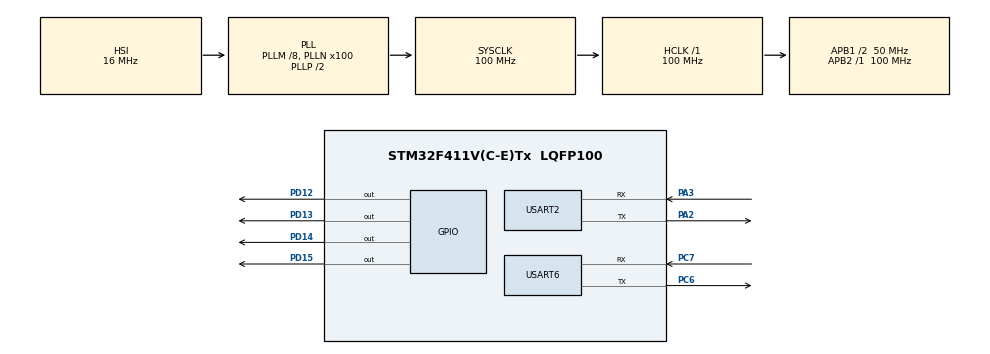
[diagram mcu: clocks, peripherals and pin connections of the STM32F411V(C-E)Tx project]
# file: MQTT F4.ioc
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Mcu.Family=STM32F4
Mcu.Name=STM32F411V(C-E)Tx
Mcu.Package=LQFP100
NVIC.PriorityGroup=NVIC_PRIORITYGROUP_4
NVIC.USART6_IRQn=true\:0\:0\:false\:false\:true\:true\:true
PA13.Mode=Serial_Wire
PA13.Signal=SYS_JTMS-SWDIO
PA14.Mode=Serial_Wire
PA14.Signal=SYS_JTCK-SWCLK
PA2.Mode=Asynchronous
PA2.Signal=USART2_TX
PA3.Mode=Asynchronous
PA3.Signal=USART2_RX
PC6.Mode=Asynchronous
PC6.Signal=USART6_TX
PC7.Mode=Asynchronous
PC7.Signal=USART6_RX
PD12.Signal=GPIO_Output
PD13.Signal=GPIO_Output
PD14.Signal=GPIO_Output
PD15.Signal=GPIO_Output
PH0\ -\ OSC_IN.Mode=HSE-External-Oscillator
PH0\ -\ OSC_IN.Signal=RCC_OSC_IN
PH1\ -\ OSC_OUT.Mode=HSE-External-Oscillator
PH1\ -\ OSC_OUT.Signal=RCC_OSC_OUT
ProjectManager.HeapSize=0x200
ProjectManager.StackSize=0x400
ProjectManager.TargetToolchain=MDK-ARM V5
RCC.48MHZClocksFreq_Value=50000000
RCC.AHBFreq_Value=100000000
RCC.APB1CLKDivider=RCC_HCLK_DIV2
RCC.APB1Freq_Value=50000000
RCC.APB1TimFreq_Value=100000000
RCC.APB2Freq_Value=100000000
RCC.APB2TimFreq_Value=100000000
RCC.CortexFreq_Value=100000000
RCC.HCLKFreq_Value=100000000
RCC.HSE_VALUE=25000000
RCC.HSI_VALUE=16000000
RCC.LSE_VALUE=32768
RCC.PLLM=8
RCC.PLLN=100
RCC.SYSCLKFreq_VALUE=100000000
RCC.SYSCLKSource=RCC_SYSCLKSOURCE_PLLCLK
RCC.VCOOutputFreq_Value=200000000
USART2.VirtualMode=VM_ASYNC
USART6.VirtualMode=VM_ASYNC
board=custom

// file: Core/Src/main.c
/* USER CODE BEGIN Header */
/**
  ******************************************************************************
  * @file           : main.c
  * @brief          : Main program body
  ******************************************************************************
  * @attention
  *
  * <h2><center>&copy; Copyright (c) 2022 STMicroelectronics.
  * All rights reserved.</center></h2>
  *
  * This software component is licensed by ST under BSD 3-Clause license,
  * the "License"; You may not use this file except in compliance with the
  * License. You may obtain a copy of the License at:
  *                        opensource.org/licenses/BSD-3-Clause
  *
  ******************************************************************************
  */
/* USER CODE END Header */
#include "main.h"

/* USER CODE BEGIN Includes */
#include "cJSON.h"
#include "stdio.h"
#include <stdint.h>
#include <math.h>
#include <cJSON.h>
#include <string.h>
#include <stdlib.h>

/* USER CODE END Includes */

UART_HandleTypeDef huart2;
UART_HandleTypeDef huart6;

void SystemClock_Config(void);
static void MX_GPIO_Init(void);
static void MX_USART6_UART_Init(void);
static void MX_USART2_UART_Init(void);

/* USER CODE BEGIN 0 */
#ifdef __GNUC__
     #define PUTCHAR_PROTOTYPE int __io_putchar(int ch)
#else
     #define PUTCHAR_PROTOTYPE int fputc(int ch, FILE *f)
#endif
PUTCHAR_PROTOTYPE
{
  // CONG PC
	HAL_UART_Transmit(&huart2,(uint8_t *)&ch,1,0xFFFF);
	return ch;
}
//phong cach code kieu cu
cJSON *str_json,*str_TB1 , *str_TB2 , *str_C1 , *str_C2  , *str_Mode;

uint8_t rx_data1,rx_data2;
uint8_t rx_index1;
char rx_buffer1[100];
char rx_buffer2[100];

char ResponseRX[500];
uint32_t  rx_indexResponse;

uint8_t CheckConnect;

long last = 0;
unsigned int ND = 0;
unsigned int DA = 0;
unsigned int TTTB1 = 0;
unsigned int TTTB2 = 0;
unsigned int C1 = 0;
unsigned int C2 = 0;
unsigned int ConfigAt = 0;
unsigned int ErrorCode = 0;

char *ssid = "Lau2";
char *pass = "12khavancan";
char *mqtt_host = "ngoinhaiot.com";
char *mqtt_port = "1111";
char *mqtt_user = "tiepappleid";
char *mqtt_pass = "65F4856EF4024DDA";
char *mqtt_sub = "tiepappleid/quat"; //topic gui du lieu cho esp
char *mqtt_pub = "tiepappleid/maylanh";
int chedo = 0;// 0 = auto, 1 == man

void SettingESP(void);
void ConnectMQTT(char *host, char *port, char *user, char *pass, char *sub, char *pub);
void ChuongTrinhCamBien(void);
void Send_AT_Commands_Setting(char *AT_Commands, char *DataRespone, uint32_t timesend, uint32_t setting);
void Send_AT_Commands_ConnectMQTT(char *AT_Commands, char *DataResponse , uint32_t timeout , uint32_t setting , uint32_t count);
void HAL_UART_RxCpltCallback(UART_HandleTypeDef *huart);
void Received_AT_Commands_ESP(void);
void Received_AT_Comands_ESP_MessageMQTT(void);
void ClearBuffer_UART_ESP(void);
void ClearRespone(void);
void ParseJson(char *DataMQTT);
void SettingESP(void);
void SendData(char *pub , unsigned int ND ,unsigned int DA, unsigned int TB1,  unsigned int TB2, unsigned int C1, unsigned int C2);
void Send_AT_Commands_SendMessager(char *AT_Commands, char *DataResponse , uint32_t timeout , uint32_t setting , uint32_t count);

void SendData(char *pub , unsigned int ND ,unsigned int DA, unsigned int TB1,  unsigned int TB2, unsigned int C1, unsigned int C2)
{
	//AT+MQTTPUBRAW=0,"tiepappleid/maylanh",5,0,1$0D$0A
	/*
	tra ve
	OK\r\n\r\n>
	=> send data => ABCD$0D$0A => tra ve +MQTTPUB:OK
	*/
	char MQTTPUBRAW[100];
	char JSON[100];
	char Str_ND[100];
	char Str_DA[100];
	char Str_TB1[100];
	char Str_TB2[100];
	char Str_C1[100];
	char Str_C2[100];
	char Length[100];

	for(int i = 0 ; i < 100; i++)
	{
		MQTTPUBRAW[i] = 0;
		JSON[i] = 0;
		Str_ND[i] = 0;
		Str_DA[i] = 0;
		Str_TB1[i] = 0;
		Str_TB2[i] = 0;
		Str_C1[i] = 0;
		Str_C2[i] = 0;
		Length[i] = 0;
	}
	sprintf(Str_ND, "%d", ND);
	sprintf(Str_DA, "%d", DA);
	sprintf(Str_TB1, "%d", TB1);
	sprintf(Str_TB2, "%d", TB2);
	sprintf(Str_C1, "%d", C1);
	sprintf(Str_C2, "%d", C2);

	strcat(JSON,"{\"ND\":\"");
	strcat(JSON,Str_ND);
	strcat(JSON,"\",");

	strcat(JSON,"\"DA\":\"");
	strcat(JSON,Str_DA);
	strcat(JSON,"\",");

	strcat(JSON,"\"TB1\":\"");
	strcat(JSON,Str_TB1);
	strcat(JSON,"\",");

	strcat(JSON,"\"TB2\":\"");
	strcat(JSON,Str_TB2);
	strcat(JSON,"\",");

	strcat(JSON,"\"C1\":\"");
	strcat(JSON,Str_C1);
	strcat(JSON,"\",");

	strcat(JSON,"\"C2\":\"");
	strcat(JSON,Str_C2);
	strcat(JSON,"\"}");
	strcat(JSON,"\r\n");

	printf("DataJson: %s\n", JSON);
	//do do dai chuoi vua gui
	int len = 0;
	len = strlen(JSON);
	sprintf(Length, "%d", len);

	//AT+MQTTPUBRAW=0,"tiepappleid/SEND",5,0,1$0D$0A
	strcat(MQTTPUBRAW,"AT+MQTTPUBRAW=0,\"");
	strcat(MQTTPUBRAW,pub);
	strcat(MQTTPUBRAW,"\",");
	strcat(MQTTPUBRAW,Length);
	strcat(MQTTPUBRAW,",0,1\r\n");
	printf("MQTTPUBRAW: %s\n",MQTTPUBRAW);

	//{"ND":"","DA":"","TB1":"","TB2":"","C1":"","C2":""}

	Send_AT_Commands_SendMessager(MQTTPUBRAW, "OK\r\n\r\n>" , 5000 , 0 , 3);

	ClearBuffer_UART_ESP();

	if(ErrorCode == 0)
	{
		Send_AT_Commands_SendMessager(JSON, "+MQTTPUB:OK" , 5000 , 0 , 5);
		ClearBuffer_UART_ESP();
	}
}

void Send_AT_Commands_SendMessager(char *AT_Commands, char *DataResponse , uint32_t timeout , uint32_t setting , uint32_t count)
{
	ClearBuffer_UART_ESP();
	last = HAL_GetTick();
	uint32_t Size = 300;
	uint32_t Count = 0;
	ConfigAt = setting;
	char DataHTTP[Size];
	for(int i = 0 ; i < Size; i++)
	{
		DataHTTP[i] = 0;
	}
	// dua data lenh AT_Commands vao mang  SendHTTP
	snprintf(DataHTTP, sizeof(DataHTTP),"%s", AT_Commands);
	HAL_UART_Transmit(&huart6,(uint8_t *)&DataHTTP,strlen(DataHTTP),1000);
	printf("Send AT-Commands Data: %s\r\n", DataHTTP);
	last = HAL_GetTick();
	while(1)
	{
		//chay ham ngat uart
		if(HAL_GetTick() - last >= timeout)
		{
			Count++;
			HAL_UART_Transmit(&huart6,(uint8_t *)&DataHTTP,strlen(DataHTTP),1000);
			printf("Send AT-Commands Send Data MQTT: %s\r\n", DataHTTP);
			last = HAL_GetTick();
		}
		if(strstr(rx_buffer1,DataResponse) != NULL)
		{
			//printf("Reponse DataBlynk: %s\r\n",DataResponse);
			printf("SEND MQTT OK\r\n");
			ClearBuffer_UART_ESP();
			ErrorCode = 0;
			CheckConnect = 1;
			last = HAL_GetTick();
			break;
		}
		if(Count >= count)
		{
			printf("SEND MQTT ERROR\r\n"); // gui lenh setting lai
			ErrorCode = 1;
			ClearBuffer_UART_ESP();
			last = HAL_GetTick();
			break;
		}
	}
}

void HAL_UART_RxCpltCallback(UART_HandleTypeDef *huart)
{
	if(ConfigAt == 0)
	{
		if(huart->Instance == huart6.Instance)
		{
		Received_AT_Commands_ESP();
		HAL_UART_Receive_IT(&huart6,&rx_data1,1);
		}
	}
	else if(ConfigAt == 1)
	{
		if(huart->Instance == huart6.Instance)
		{
		Received_AT_Comands_ESP_MessageMQTT();
		HAL_UART_Receive_IT(&huart6,&rx_data1,1);
		}
	}
}

void ChuongTrinhCamBien(void)
{
	ND = ND +1;
	DA = DA +2;
	if( DA > 100)
	{
		ND = 0;
		DA = 0;
	}
}
void SendMQTT(void)
{
	if(HAL_GetTick() - last >= 1000)
	{
		if(CheckConnect)
		{
		  HAL_GPIO_TogglePin(GPIOC,GPIO_PIN_13);
			ChuongTrinhCamBien();
			SendData(mqtt_pub,ND,DA,TTTB1,TTTB2,C1,C2);
		}
	}
	ConfigAt = 1;
}

void ParseJson(char *DataMQTT)
{
	str_json = cJSON_Parse(DataMQTT);
	if(!str_json)
	{
		printf("JSON error\r\n");
		return;
	}
	else
	{
		printf("JSON OKE\r\n");
	 //{"TB1":"0"} {"TB1":"1"}
		str_TB1 = cJSON_GetObjectItem(str_json,"TB1");
		if(str_TB1->type == cJSON_String)
		{
			if(strstr(str_TB1->valuestring,"1") != NULL)
			{
				printf("ON D1 \r\n");
				TTTB1 = 1;
				HAL_GPIO_WritePin(GPIOD,GPIO_PIN_15,GPIO_PIN_SET);
			}
			else if(strstr(str_TB1->valuestring,"0") != NULL)
			{
				printf("OFF D1 \r\n");
				TTTB1 = 0;
				HAL_GPIO_WritePin(GPIOD,GPIO_PIN_15,GPIO_PIN_RESET);

			}
		}

		str_TB2 = cJSON_GetObjectItem(str_json,"TB2");
		if(str_TB2->type == cJSON_String)
		{
			if(strstr(str_TB2->valuestring,"1") != NULL)
			{
				printf("ON D2 \r\n");
				TTTB2 = 1;
				HAL_GPIO_WritePin(GPIOD,GPIO_PIN_14,GPIO_PIN_SET);
			}
			else if(strstr(str_TB2->valuestring,"0") != NULL)
			{
				printf("OFF D2 \r\n");
				TTTB2 = 0;
				HAL_GPIO_WritePin(GPIOD,GPIO_PIN_14,GPIO_PIN_RESET);
			}
		}

		str_C1 = cJSON_GetObjectItem(str_json, "C1"); //Get information about the value corresponding to the name key
		if (str_C1->type == cJSON_String)
		{
			printf("C1:%s \r\n", str_C1->valuestring);
			C1 = atoi(str_C1->valuestring);
		}

		str_C2 = cJSON_GetObjectItem(str_json, "C2"); //Get information about the value corresponding to the name key
		if (str_C2->type == cJSON_String)
		{
			printf("C2:%s \r\n", str_C2->valuestring);
			C2 = atoi(str_C2->valuestring);
		}
  	cJSON_Delete(str_json);
	}
}
void ClearRespone(void)
{
	for(uint8_t i = 0; i<100; i++)
	{
		ResponseRX[i] = 0 ;
	}
	rx_indexResponse = 0;
}
void ClearBuffer_UART_ESP(void)
{
		for(int i = 0 ; i < 500 ; i++)
	{
		rx_buffer1[i] = 0;
	}
	rx_index1 = 0;
}

void Received_AT_Comands_ESP_MessageMQTT(void)
{
	if(rx_data1 != '\n')
	{
		ResponseRX[rx_indexResponse++] = rx_data1;
	}
	else
	{
		ResponseRX[rx_indexResponse++] = rx_data1;
		printf("Data MQTT: %s\r\n",ResponseRX);

		//Check Connect
		if(strstr(ResponseRX,"MQTTCONNECTED") != NULL)
		{
			printf("Connect MQTT to RECEIVED DATA\r\n");
			CheckConnect = 1;
			last =  HAL_GetTick();
		}
		else if(strstr(ResponseRX,"MQTTDISCONNECTED") != NULL)
		{
			printf("Not Connect MQTT\r\n");
			CheckConnect = 0;
			last = HAL_GetTick();
		}
		else if(strstr(ResponseRX,"+MQTTSUBRECV") != NULL)
		{
			char *DataMQTT;
			//+MQTTSUBRECV:0,"tiepappleid/quat",4,hiii
			DataMQTT = strtok(ResponseRX,",");
			DataMQTT = strtok(NULL,",");
			DataMQTT = strtok(NULL,",");
			DataMQTT = strtok(NULL,"\n");
			printf("DATA MQTT: %s\r\n", DataMQTT);

			ParseJson(DataMQTT);
			last = HAL_GetTick();
		}
		last = HAL_GetTick();
		ClearRespone();
	}
}
void Received_AT_Commands_ESP(void)
{
	rx_buffer1[rx_index1++] = rx_data1;
}

void Send_AT_Commands_Setting(char *AT_Commands, char *DataRespone, uint32_t timesend, uint32_t setting)
{
	ConfigAt = setting;
	char DataSendAT[50];
	for(int i = 0; i < 50; i++)
	{
		DataSendAT[i] = 0;
	}
	//dua lenh AT Commands vao mang DataSendAT
	snprintf(DataSendAT,strlen(DataSendAT),"%s\r\n",AT_Commands);
	//send ESP qua cong UART1
	HAL_UART_Transmit(&huart6,(uint8_t *)DataSendAT,strlen(DataSendAT),1000);
	printf("Send AT-Commands Setting: %s\r\n",DataSendAT);
	//dung doi phan hoi + doi qua lau thi gui cac goi tin khac ( phan hoi tu ngat uart1)
	last = HAL_GetTick();
	while(1)
	{
		//qua 5s thi gui lai lenh cu khi nao ok thithoi
		if(HAL_GetTick() - last >= timesend)
		{
			HAL_UART_Transmit(&huart6,(uint8_t *)DataSendAT,strlen(DataSendAT),1000);
			printf("Send AT-Commands Setting TimeSend: %s\r\n", DataSendAT);
			last = HAL_GetTick();
		}
		if(strstr(rx_buffer1,DataRespone) != NULL)
		{
			//printf("Data Buffer2: %s\r\n",rx_buffer1);
			printf("Reponse Setting: %s\r\n",DataRespone);
			ClearBuffer_UART_ESP();
			break;
		}
	}
}

void SettingESP(void)
{
	Send_AT_Commands_Setting("AT+RST\r\n", "OK", 10000 , 0);

	HAL_Delay(3000);

	//Send_AT_Commands_Setting("AT+CWQAP\r\n", "WIFI DISCONNECT\r\n\r\nOK" , 2000, 0);

	//HAL_Delay(3000);

	Send_AT_Commands_Setting("AT\r\n", "OK", 300, 0);

	HAL_Delay(3000);

	Send_AT_Commands_Setting("ATE0\r\n", "OK" , 2000, 0);

	HAL_Delay(3000);

	Send_AT_Commands_Setting("AT+CWMODE=1,1\r\n", "OK", 2000, 0);

	HAL_Delay(3000);

	Send_AT_Commands_Setting("AT+CWJAP=\"Lau2\",\"12khavancan\"\r\n", "WIFI CONNECTED", 10000, 0);

	HAL_Delay(3000);

	Send_AT_Commands_Setting("AT+CIPMUX=0\r\n", "OK", 2000 , 0);

	HAL_Delay(3000);

	ErrorCode = 0;
}

void ButtonMode(void)
{
	//chuyentrangthai mode

}

/* USER CODE END 0 */

int main(void)
{

  /* MCU Configuration--------------------------------------------------------*/

  /* Reset of all peripherals, Initializes the Flash interface and the Systick. */
  HAL_Init();

  /* Configure the system clock */
  SystemClock_Config();

  /* Initialize all configured peripherals */
  MX_GPIO_Init();
  MX_USART6_UART_Init();
  MX_USART2_UART_Init();
  /* USER CODE BEGIN 2 */
	HAL_UART_Receive_IT(&huart6,&rx_data1,1); //ESP
	HAL_UART_Receive_IT(&huart2,&rx_data2,1); //USB

	HAL_Delay(1000);\

	printf("SETTING ESP\r\n");

	SettingESP();

	HAL_Delay(1000);

	ConnectMQTT(mqtt_host,mqtt_port,mqtt_user,mqtt_pass,mqtt_sub,mqtt_pub);

	last = HAL_GetTick();
  /* USER CODE END 2 */

  /* Infinite loop */
  while (1)
  {

    /* USER CODE BEGIN 3 */
		if(chedo == 0)
		{
			while(1)
			{
				SendMQTT();
				ButtonMode();
				if(chedo == 1)
				{
					break;

				}
			}
		}
		else if(chedo == 1)
		{
			while(1)
			{
				if(chedo == 0)
				{
					break;

				}
			}

		}
  }
  /* USER CODE END 3 */
}

void ConnectMQTT(char *host, char *port, char *user, char *pass, char *sub, char *pub)
{
	uint32_t id = 0;
	id = rand()%100;
	char clientid[100];
	char MathRandom[100];
	char MQTTUSERCFG[100];
	char MQTTCONN[100];
	char MQTTSUB[100];

	for(int i = 0; i < 100; i++)
	{
	clientid[i] = 0;
	MathRandom[i]= 0;
	MQTTUSERCFG[i] = 0;
	MQTTCONN[i] = 0;
	MQTTSUB[i] = 0;
	}

	sprintf(MathRandom,"%d",id);
	strcat(clientid,"ESP");
	strcat(clientid,MathRandom);

	//AT+MQTTUSERCFG=0,1,"ESP8266","tiepappleid","65F4856EF4024DDA",0,0,""$0D$0A => OK

	strcat(MQTTUSERCFG,"AT+MQTTUSERCFG=0,1,\"");
	strcat(MQTTUSERCFG,clientid);
	strcat(MQTTUSERCFG,"\",\"");
	strcat(MQTTUSERCFG,user);
	strcat(MQTTUSERCFG,"\",\"");
	strcat(MQTTUSERCFG,pass);
	strcat(MQTTUSERCFG,"\",0,0,");
	strcat(MQTTUSERCFG,"\"\"");
	strcat(MQTTUSERCFG,"\r\n");
	//printf("MQTTUSERCFG: %s",MQTTUSERCFG);

	//AT+MQTTCONN=0,"ngoinhaiot.com",1111,1$0D$0A
	strcat(MQTTCONN, "AT+MQTTCONN=0,\"");
	strcat(MQTTCONN, host);
	strcat(MQTTCONN, "\",");
	strcat(MQTTCONN, port);
	strcat(MQTTCONN, ",1\r\n");
	//printf("MQTTCONN: %s",MQTTCONN);

	///AT+MQTTSUB=0,"tiepappleid/quat",0$0D$0A => OK
	strcat(MQTTSUB, "AT+MQTTSUB=0,\"");
	strcat(MQTTSUB, sub);
	strcat(MQTTSUB, "\",0\r\n");
	printf("MQTTSUB: %s",MQTTSUB);

	Send_AT_Commands_ConnectMQTT(MQTTUSERCFG, "OK" , 5000 , 0 , 5);
	HAL_Delay(1000);
	ClearBuffer_UART_ESP();

	Send_AT_Commands_ConnectMQTT(MQTTCONN, "+MQTTCONNECTED" , 5000 , 0 , 5);
	HAL_Delay(1000);
	ClearBuffer_UART_ESP();

	Send_AT_Commands_ConnectMQTT(MQTTSUB, "OK" , 5000 , 0 , 5);
	HAL_Delay(1000);
	ClearBuffer_UART_ESP();

	ConfigAt = 1;//doc du lieu tu host chuyen ve
	//ErrorCode = 1;	//ko co loi ?
}

void Send_AT_Commands_ConnectMQTT(char *AT_Commands, char *DataResponse , uint32_t timeout , uint32_t setting , uint32_t count)
{
	ClearBuffer_UART_ESP();
	last = HAL_GetTick();
	uint32_t Size = 300;
	uint32_t Count = 0;
	ConfigAt = setting;
	char DataHTTP[Size];
	for(int i = 0 ; i < Size; i++)
	{
		DataHTTP[i] = 0;
	}
	//dua lenh AT Command vao mang SendHTTP
	snprintf(DataHTTP, sizeof(DataHTTP),"%s", AT_Commands);
	HAL_UART_Transmit(&huart6,(uint8_t *)&DataHTTP,strlen(DataHTTP),1000);
	printf("Send AT-Commands Data: %s\r\n", DataHTTP);
	last = HAL_GetTick();

	while(1)
	{
		//chay ham ngat uart
		if(HAL_GetTick() - last >= timeout)
		{
			Count++;
			HAL_UART_Transmit(&huart6,(uint8_t *)&DataHTTP,strlen(DataHTTP),1000);
			printf("Send AT-Commands Data TimeOut: %s\r\n", DataHTTP);
			last = HAL_GetTick();
		}
		if(strstr(rx_buffer1,DataResponse) != NULL)
		{
			//printf("Reponse DataBlynk: %s\r\n",DataResponse);
			printf("MQTT Connect OK\r\n");
			ClearBuffer_UART_ESP();
			ErrorCode = 0;
			CheckConnect = 1;
			last = HAL_GetTick();
			break;
		}
		if(Count >= count)
		{
			printf("MQTT Connect ERROR\r\n"); // gui lenh setting lai
			ErrorCode = 1;
			CheckConnect = 0;
			ClearBuffer_UART_ESP();
			last = HAL_GetTick();
			break;
		}
}
}

void SystemClock_Config(void)
{
  RCC_OscInitTypeDef RCC_OscInitStruct = {0};
  RCC_ClkInitTypeDef RCC_ClkInitStruct = {0};

  /** Configure the main internal regulator output voltage
  */
  __HAL_RCC_PWR_CLK_ENABLE();
  __HAL_PWR_VOLTAGESCALING_CONFIG(PWR_REGULATOR_VOLTAGE_SCALE1);
  /** Initializes the RCC Oscillators according to the specified parameters
  * in the RCC_OscInitTypeDef structure.
  */
  RCC_OscInitStruct.OscillatorType = RCC_OSCILLATORTYPE_HSI;
  RCC_OscInitStruct.HSIState = RCC_HSI_ON;
  RCC_OscInitStruct.HSICalibrationValue = RCC_HSICALIBRATION_DEFAULT;
  RCC_OscInitStruct.PLL.PLLState = RCC_PLL_ON;
  RCC_OscInitStruct.PLL.PLLSource = RCC_PLLSOURCE_HSI;
  RCC_OscInitStruct.PLL.PLLM = 8;
  RCC_OscInitStruct.PLL.PLLN = 100;
  RCC_OscInitStruct.PLL.PLLP = RCC_PLLP_DIV2;
  RCC_OscInitStruct.PLL.PLLQ = 4;
  if (HAL_RCC_OscConfig(&RCC_OscInitStruct) != HAL_OK)
  {
    Error_Handler();
  }
  /** Initializes the CPU, AHB and APB buses clocks
  */
  RCC_ClkInitStruct.ClockType = RCC_CLOCKTYPE_HCLK|RCC_CLOCKTYPE_SYSCLK
                              |RCC_CLOCKTYPE_PCLK1|RCC_CLOCKTYPE_PCLK2;
  RCC_ClkInitStruct.SYSCLKSource = RCC_SYSCLKSOURCE_PLLCLK;
  RCC_ClkInitStruct.AHBCLKDivider = RCC_SYSCLK_DIV1;
  RCC_ClkInitStruct.APB1CLKDivider = RCC_HCLK_DIV2;
  RCC_ClkInitStruct.APB2CLKDivider = RCC_HCLK_DIV1;

  if (HAL_RCC_ClockConfig(&RCC_ClkInitStruct, FLASH_LATENCY_3) != HAL_OK)
  {
    Error_Handler();
  }
}

static void MX_USART2_UART_Init(void)
{

  huart2.Instance = USART2;
  huart2.Init.BaudRate = 115200;
  huart2.Init.WordLength = UART_WORDLENGTH_8B;
  huart2.Init.StopBits = UART_STOPBITS_1;
  huart2.Init.Parity = UART_PARITY_NONE;
  huart2.Init.Mode = UART_MODE_TX_RX;
  huart2.Init.HwFlowCtl = UART_HWCONTROL_NONE;
  huart2.Init.OverSampling = UART_OVERSAMPLING_16;
  if (HAL_UART_Init(&huart2) != HAL_OK)
  {
    Error_Handler();
  }

}

static void MX_USART6_UART_Init(void)
{

  huart6.Instance = USART6;
  huart6.Init.BaudRate = 115200;
  huart6.Init.WordLength = UART_WORDLENGTH_8B;
  huart6.Init.StopBits = UART_STOPBITS_1;
  huart6.Init.Parity = UART_PARITY_NONE;
  huart6.Init.Mode = UART_MODE_TX_RX;
  huart6.Init.HwFlowCtl = UART_HWCONTROL_NONE;
  huart6.Init.OverSampling = UART_OVERSAMPLING_16;
  if (HAL_UART_Init(&huart6) != HAL_OK)
  {
    Error_Handler();
  }

}

static void MX_GPIO_Init(void)
{
  GPIO_InitTypeDef GPIO_InitStruct = {0};

  /* GPIO Ports Clock Enable */
  __HAL_RCC_GPIOH_CLK_ENABLE();
  __HAL_RCC_GPIOA_CLK_ENABLE();
  __HAL_RCC_GPIOD_CLK_ENABLE();
  __HAL_RCC_GPIOC_CLK_ENABLE();

  /*Configure GPIO pin Output Level */
  HAL_GPIO_WritePin(GPIOD, GPIO_PIN_12|GPIO_PIN_13|GPIO_PIN_14|GPIO_PIN_15, GPIO_PIN_RESET);

  /*Configure GPIO pins : PD12 PD13 PD14 PD15 */
  GPIO_InitStruct.Pin = GPIO_PIN_12|GPIO_PIN_13|GPIO_PIN_14|GPIO_PIN_15;
  GPIO_InitStruct.Mode = GPIO_MODE_OUTPUT_PP;
  GPIO_InitStruct.Pull = GPIO_NOPULL;
  GPIO_InitStruct.Speed = GPIO_SPEED_FREQ_LOW;
  HAL_GPIO_Init(GPIOD, &GPIO_InitStruct);

}

void Error_Handler(void)
{
}

/************************ (C) COPYRIGHT STMicroelectronics *****END OF FILE****/
